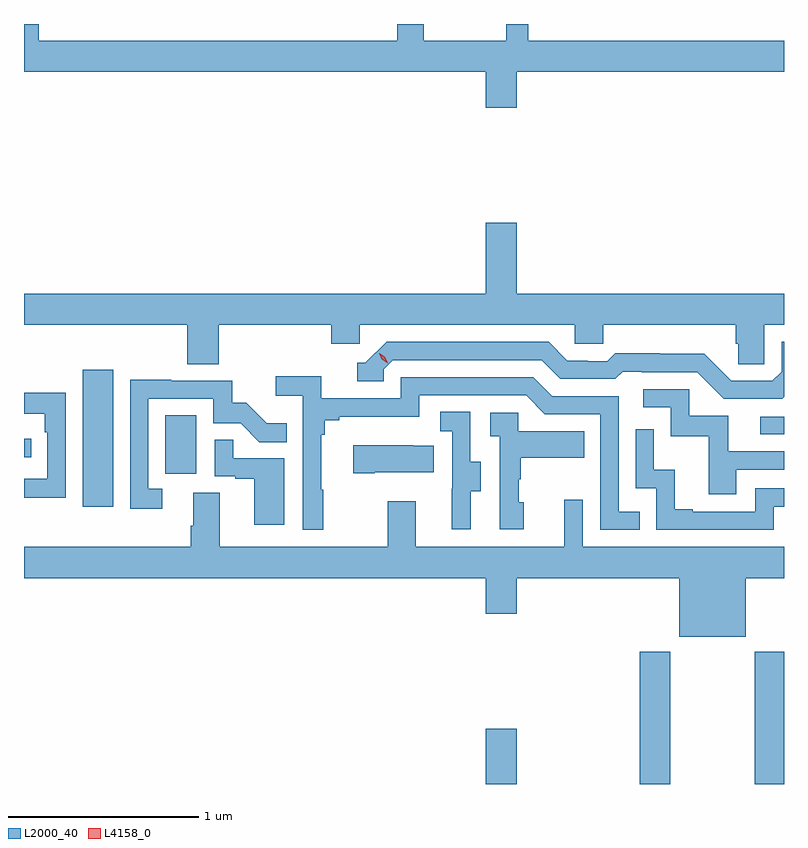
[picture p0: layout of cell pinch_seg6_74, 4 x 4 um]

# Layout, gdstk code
import gdstk
lib = gdstk.Library(unit=1e-6, precision=1e-09)
def R(c, l, rs):  # rectangles x0, y0, x1, y1
    for r in rs: c.add(gdstk.rectangle(r[:2], r[2:], *l))
def P(c, l, *ps):  # polygons
    for p in ps: c.add(gdstk.Polygon(p, *l))
L2000_40 = (2000, 40)
L4158_0 = (4158, 0)

pinch_seg6_74 = lib.new_cell('pinch_seg6_74')
R(pinch_seg6_74, L2000_40, [(932.24,927.604,932.404,927.895), (933.053,927.604,933.213,928.3), (933.658,927.604,933.811,928.3), (930.119,929.064,930.28,929.785), (930.554,929.238,930.718,929.545), (929.811,929.325,929.848,929.421), (933.687,929.445,933.811,929.538)])
P(pinch_seg6_74, L2000_40, [(932.404,931.352),(933.811,931.352),(933.811,931.516),(932.465,931.516),(932.465,931.604),(932.349,931.604),(932.349,931.516),(931.915,931.516),(931.915,931.604),(931.775,931.604),(931.775,931.516),(929.888,931.516),(929.888,931.604),(929.811,931.604),(929.811,931.352),(932.24,931.352),(932.24,931.164),(932.404,931.164)],
  [(930.836,930.02),(931.427,930.02),(931.427,929.922),(931.578,929.922),(931.578,930.02),(932.709,930.02),(932.709,929.922),(932.859,929.922),(932.859,930.02),(933.557,930.02),(933.557,929.922),(933.571,929.922),(933.571,929.812),(933.708,929.812),(933.708,930.02),(933.811,930.02),(933.811,930.184),(932.404,930.184),(932.404,930.559),(932.24,930.559),(932.24,930.184),(929.811,930.184),(929.811,930.02),(930.671,930.02),(930.671,929.812),(930.836,929.812)],
  [(933.811,929.641),(933.811,929.931),(933.798,929.931),(933.798,929.775),(933.75,929.727),(933.534,929.727),(933.392,929.869),(933.156,929.869),(933.156,929.872),(932.923,929.872),(932.881,929.829),(932.778,929.829),(932.778,929.832),(932.671,929.832),(932.572,929.931),(931.719,929.931),(931.608,929.82),(931.565,929.82),(931.565,929.724),(931.704,929.724),(931.704,929.787),(931.752,929.835),(932.535,929.835),(932.634,929.736),(932.923,929.736),(932.962,929.775),(933.061,929.775),(933.061,929.772),(933.354,929.772),(933.495,929.631),(933.801,929.631)],
  [(931.387,929.153),(931.375,929.153),(931.375,929.441),(931.394,929.441),(931.394,929.518),(931.471,929.518),(931.471,929.537),(931.89,929.537),(931.89,929.649),(932.454,929.649),(932.553,929.55),(932.844,929.55),(932.844,928.941),(933.053,928.941),(933.053,929.037),(932.94,929.037),(932.94,929.646),(932.59,929.646),(932.491,929.745),(931.794,929.745),(931.794,929.634),(931.376,929.634),(931.376,929.75),(931.137,929.75),(931.137,929.648),(931.278,929.648),(931.278,928.941),(931.387,928.941)],
  [(930.538,929.157),(930.465,929.157),(930.465,929.631),(930.807,929.631),(930.807,929.502),(930.951,929.502),(931.049,929.404),(931.193,929.404),(931.193,929.503),(931.089,929.503),(930.982,929.61),(930.906,929.61),(930.906,929.727),(930.587,929.727),(930.587,929.732),(930.369,929.732),(930.369,929.052),(930.538,929.052)],
  [(933.559,929.259),(933.811,929.259),(933.811,929.355),(933.517,929.355),(933.517,929.541),(933.312,929.541),(933.312,929.682),(933.069,929.682),(933.069,929.586),(933.216,929.586),(933.216,929.433),(933.415,929.433),(933.415,929.13),(933.559,929.13)],
  [(930.03,929.662),(929.811,929.662),(929.811,929.552),(929.921,929.552),(929.921,929.456),(929.934,929.456),(929.934,929.211),(929.811,929.211),(929.811,929.11),(930.03,929.11)],
  [(932.161,929.146),(932.215,929.146),(932.215,929.301),(932.16,929.301),(932.16,929.564),(932.001,929.564),(932.001,929.461),(932.064,929.461),(932.064,929.157),(932.063,929.157),(932.063,928.944),(932.161,928.944)],
  [(932.44,929.088),(932.415,929.088),(932.415,929.207),(932.425,929.207),(932.425,929.321),(932.759,929.321),(932.759,929.461),(932.412,929.461),(932.412,929.559),(932.265,929.559),(932.265,929.435),(932.316,929.435),(932.316,928.944),(932.44,928.944)],
  [(933.756,929.064),(933.811,929.064),(933.811,929.16),(933.66,929.16),(933.66,929.037),(933.331,929.037),(933.331,929.05),(933.236,929.05),(933.236,929.258),(933.126,929.258),(933.126,929.47),(933.03,929.47),(933.03,929.16),(933.138,929.16),(933.138,928.941),(933.756,928.941)],
  [(931.18,929.319),(930.911,929.319),(930.911,929.417),(930.816,929.417),(930.816,929.223),(930.923,929.223),(930.923,929.211),(931.022,929.211),(931.022,928.968),(931.18,928.968)],
  [(931.657,929.246),(931.967,929.246),(931.967,929.383),(931.859,929.383),(931.859,929.386),(931.545,929.386),(931.545,929.239),(931.657,929.239)],
  [(933.61,928.688),(933.811,928.688),(933.811,928.852),(932.751,928.852),(932.751,929.101),(932.654,929.101),(932.654,928.852),(931.873,928.852),(931.873,929.092),(931.726,929.092),(931.726,928.852),(930.841,928.852),(930.841,929.138),(930.701,929.138),(930.701,928.964),(930.689,928.964),(930.689,928.852),(929.811,928.852),(929.811,928.688),(932.24,928.688),(932.24,928.5),(932.404,928.5),(932.404,928.688),(933.26,928.688),(933.26,928.379),(933.61,928.379)])
P(pinch_seg6_74, L4158_0, [(931.726,929.819),(931.695,929.839),(931.68,929.872),(931.68,929.872),(931.68,929.872),(931.71,929.852),(931.726,929.82),(931.726,929.819)])

lib.write_gds('pinch_seg6_74.gds')
